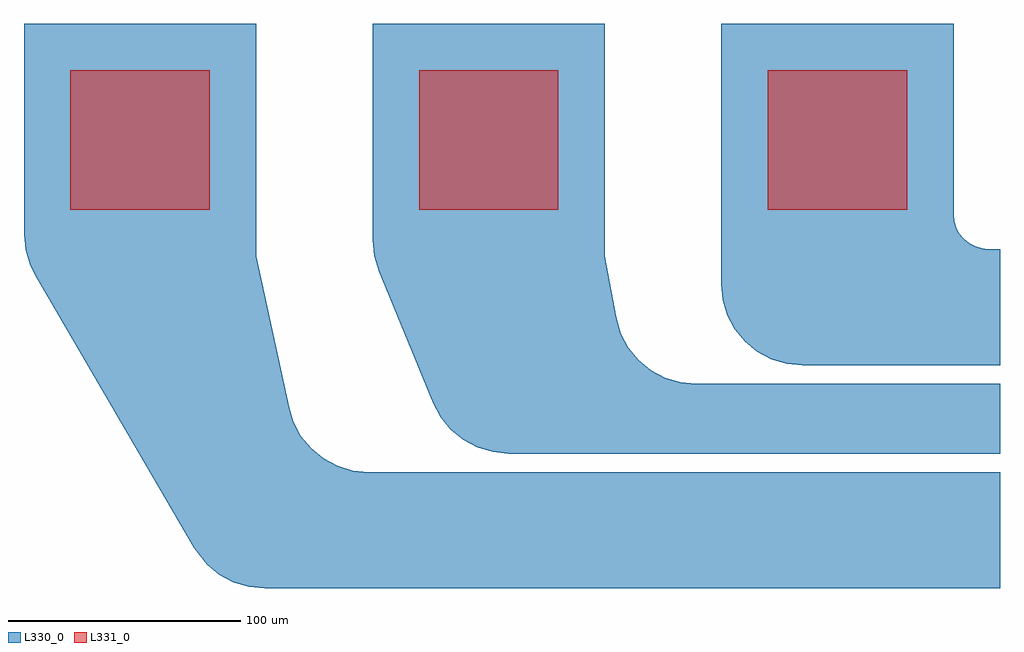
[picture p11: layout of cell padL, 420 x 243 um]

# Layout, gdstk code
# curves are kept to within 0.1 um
import gdstk
lib = gdstk.Library(unit=1e-6, precision=5e-09)
def R(c, l, rs):  # rectangles x0, y0, x1, y1
    for r in rs: c.add(gdstk.rectangle(r[:2], r[2:], *l))
def A(c, l, x, y, w, h, nx, ny, dx, dy):  # array of equal rectangles
    R(c, l, [(x+i*dx, y+j*dy, x+i*dx+w, y+j*dy+h) for i in range(nx) for j in range(ny)])
def P(c, l, *ps):  # polygons
    for p in ps: c.add(gdstk.Polygon(p, *l))
L330_0 = (330, 0)
L331_0 = (331, 0)

padl = lib.new_cell('padL')
P(padl, L330_0, [(53.545,-193),(46.715,-192.325),(40.15,-190.335),(34.1,-187.1),(28.795,-182.75),(23.315,-175.64),(-45.23,-58.175),(-47.335,-53.93),(-49.325,-47.365),(-50,-40.535),(-50,50),(50,50),(50,-50),(64.055,-115.36),(65.935,-121.395),(69.17,-127.445),(73.525,-132.75),(78.83,-137.1),(84.88,-140.335),(91.445,-142.325),(98.275,-143),(370,-143),(370,-193)],
  [(158.44,-135),(151.61,-134.325),(145.045,-132.335),(138.995,-129.1),(133.69,-124.75),(129.34,-119.445),(126.075,-113.325),(102.635,-56.4),(100.675,-49.905),(100,-43.075),(100,50),(200,50),(200,-50),(204.775,-76.26),(206.875,-83.395),(210.11,-89.445),(214.46,-94.75),(219.765,-99.1),(225.815,-102.335),(232.38,-104.325),(239.21,-105),(370,-105),(370,-135)],
  [(285,-97),(278.17,-96.325),(271.605,-94.335),(265.555,-91.1),(260.25,-86.75),(255.9,-81.445),(252.665,-75.395),(250.675,-68.83),(250,-62),(250,50),(350,50),(350,-32),(350.29,-34.925),(351.14,-37.74),(352.53,-40.335),(354.395,-42.605),(356.665,-44.47),(359.26,-45.86),(362.075,-46.71),(365,-47),(370,-47),(370,-97)])
A(padl, L331_0, -30, -30, 60, 60, 3, 1, 150, 0)

lib.write_gds('padL.gds')
